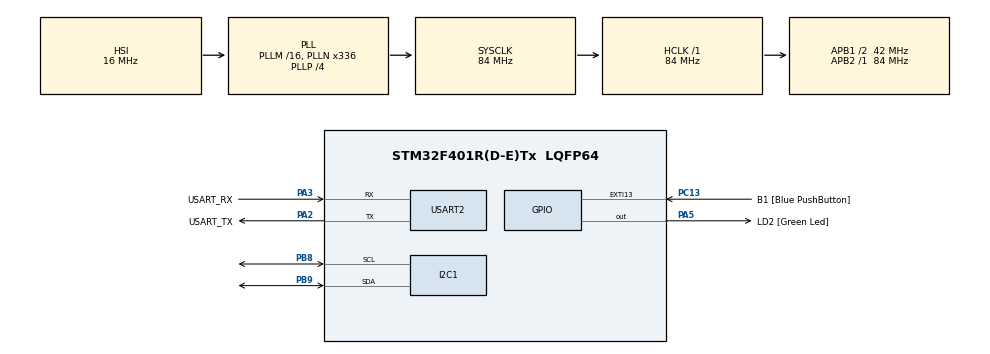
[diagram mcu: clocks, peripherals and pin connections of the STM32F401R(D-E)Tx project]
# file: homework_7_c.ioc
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Dma.I2C1_RX.0.Direction=DMA_PERIPH_TO_MEMORY
Dma.I2C1_RX.0.FIFOMode=DMA_FIFOMODE_DISABLE
Dma.I2C1_RX.0.Instance=DMA1_Stream0
Dma.I2C1_RX.0.MemDataAlignment=DMA_MDATAALIGN_BYTE
Dma.I2C1_RX.0.MemInc=DMA_MINC_ENABLE
Dma.I2C1_RX.0.Mode=DMA_NORMAL
Dma.I2C1_RX.0.PeriphDataAlignment=DMA_PDATAALIGN_BYTE
Dma.I2C1_RX.0.PeriphInc=DMA_PINC_DISABLE
Dma.I2C1_RX.0.Priority=DMA_PRIORITY_LOW
Dma.Request0=I2C1_RX
Dma.Request1=USART2_TX
Dma.USART2_TX.1.Direction=DMA_MEMORY_TO_PERIPH
Dma.USART2_TX.1.FIFOMode=DMA_FIFOMODE_DISABLE
Dma.USART2_TX.1.Instance=DMA1_Stream6
Dma.USART2_TX.1.MemDataAlignment=DMA_MDATAALIGN_BYTE
Dma.USART2_TX.1.MemInc=DMA_MINC_ENABLE
Dma.USART2_TX.1.Mode=DMA_NORMAL
Dma.USART2_TX.1.PeriphDataAlignment=DMA_PDATAALIGN_BYTE
Dma.USART2_TX.1.PeriphInc=DMA_PINC_DISABLE
Dma.USART2_TX.1.Priority=DMA_PRIORITY_LOW
Mcu.Family=STM32F4
Mcu.Name=STM32F401R(D-E)Tx
Mcu.Package=LQFP64
NVIC.DMA1_Stream0_IRQn=true\:0\:0\:false\:false\:true\:false\:true\:true
NVIC.DMA1_Stream6_IRQn=true\:0\:0\:false\:false\:true\:false\:true\:true
NVIC.I2C1_EV_IRQn=true\:0\:0\:false\:false\:true\:true\:true\:true
NVIC.PriorityGroup=NVIC_PRIORITYGROUP_0
NVIC.TIM2_IRQn=true\:0\:0\:false\:false\:true\:true\:true\:true
NVIC.USART2_IRQn=true\:0\:0\:false\:false\:true\:true\:true\:true
PA13.GPIO_Label=TMS
PA13.Mode=Serial_Wire
PA13.Signal=SYS_JTMS-SWDIO
PA14.GPIO_Label=TCK
PA14.Mode=Serial_Wire
PA14.Signal=SYS_JTCK-SWCLK
PA2.GPIO_Label=USART_TX
PA2.GPIO_Mode=GPIO_MODE_AF_PP
PA2.GPIO_PuPd=GPIO_NOPULL
PA2.GPIO_Speed=GPIO_SPEED_FREQ_LOW
PA2.Mode=Asynchronous
PA2.Signal=USART2_TX
PA3.GPIO_Label=USART_RX
PA3.GPIO_Mode=GPIO_MODE_AF_PP
PA3.GPIO_PuPd=GPIO_NOPULL
PA3.GPIO_Speed=GPIO_SPEED_FREQ_LOW
PA3.Mode=Asynchronous
PA3.Signal=USART2_RX
PA5.GPIO_Label=LD2 [Green Led]
PA5.GPIO_Mode=GPIO_MODE_OUTPUT_PP
PA5.GPIO_PuPd=GPIO_NOPULL
PA5.GPIO_Speed=GPIO_SPEED_FREQ_LOW
PA5.Signal=GPIO_Output
PB3.GPIO_Label=SWO
PB3.Signal=SYS_JTDO-SWO
PB8.Mode=I2C
PB8.Signal=I2C1_SCL
PB9.Mode=I2C
PB9.Signal=I2C1_SDA
PC13-ANTI_TAMP.GPIO_Label=B1 [Blue PushButton]
PC13-ANTI_TAMP.GPIO_ModeDefaultEXTI=GPIO_MODE_IT_FALLING
PC13-ANTI_TAMP.GPIO_PuPd=GPIO_NOPULL
PC13-ANTI_TAMP.Signal=GPXTI13
PC14-OSC32_IN.Mode=LSE-External-Oscillator
PC14-OSC32_IN.Signal=RCC_OSC32_IN
PC15-OSC32_OUT.Mode=LSE-External-Oscillator
PC15-OSC32_OUT.Signal=RCC_OSC32_OUT
PH0\ -\ OSC_IN.Mode=HSE-External-Clock-Source
PH0\ -\ OSC_IN.Signal=RCC_OSC_IN
PH1\ -\ OSC_OUT.Mode=HSE-External-Clock-Source
PH1\ -\ OSC_OUT.Signal=RCC_OSC_OUT
ProjectManager.HeapSize=0x200
ProjectManager.StackSize=0x400
ProjectManager.TargetToolchain=STM32CubeIDE
RCC.48MHZClocksFreq_Value=48000000
RCC.AHBFreq_Value=84000000
RCC.APB1CLKDivider=RCC_HCLK_DIV2
RCC.APB1Freq_Value=42000000
RCC.APB1TimFreq_Value=84000000
RCC.APB2Freq_Value=84000000
RCC.APB2TimFreq_Value=84000000
RCC.CortexFreq_Value=84000000
RCC.HCLKFreq_Value=84000000
RCC.HSE_VALUE=8000000
RCC.HSI_VALUE=16000000
RCC.PLLN=336
RCC.PLLP=RCC_PLLP_DIV4
RCC.PLLQ=7
RCC.SYSCLKFreq_VALUE=84000000
RCC.SYSCLKSource=RCC_SYSCLKSOURCE_PLLCLK
RCC.VCOOutputFreq_Value=336000000
TIM2.Period=84000000-1
USART2.VirtualMode=VM_ASYNC
VP_TIM2_VS_ClockSourceINT.Mode=Internal
board=NUCLEO-F401RE

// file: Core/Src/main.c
/* USER CODE BEGIN Header */
/**
  ******************************************************************************
  * @file           : main.c
  * @brief          : Main program body
  ******************************************************************************
  * @attention
  *
  * Copyright (c) 2022 STMicroelectronics.
  * All rights reserved.
  *
  * This software is licensed under terms that can be found in the LICENSE file
  * in the root directory of this software component.
  * If no LICENSE file comes with this software, it is provided AS-IS.
  *
  ******************************************************************************
  */
/* USER CODE END Header */
#include "main.h"

/* USER CODE BEGIN PTD */
// Read and write for LISD2DE and LISD2DE12
#define LIS2DE_ADDRESS_AND_WRITE 0b01010000         //LIS2DE_ADDRESS+0
#define LIS2DE_ADDRESS_AND_READ 0b01010001          //LIS2DE_ADDRESS+1
#define LIS2DE12_ADDRESS_AND_WRITE 0b00110000       //LIS2DE12_ADDRESS+0
#define LIS2DE12_ADDRESS_AND_READ 0b00110001        //LIS2DE12_ADDRESS+1
uint8_t Sensor_Addres_And_Write;
uint8_t Sensor_Addres_And_Read;

// Startp overflow
typedef enum {false, true} bool;
bool STARTUP_OVERFLOW = true;

// Control register address
// Enable XYZ at 1 Hz
uint8_t CTRL_REG1[] = {0x20, 0b00010111};
// No highpass filter, default value at startup
uint8_t CTRL_REG2[] = {0x21, 0b00000000};
// Continuous update with +-2g, default value at startup
uint8_t CTRL_REG4[] = {0x23, 0b00000000};

// Axis address, auto-incremented starting from register OUT_X
uint8_t OUT = 0b10000000 + 0x29;

// Acceleration variables, for 3 axis and 2 reserved spots in between
int8_t acc[5];

// Converted acceleration variables
float acc_g_x;
float acc_g_y;
float acc_g_z;

// String
char string[64];

/* USER CODE END PTD */

I2C_HandleTypeDef hi2c1;
DMA_HandleTypeDef hdma_i2c1_rx;

TIM_HandleTypeDef htim2;

UART_HandleTypeDef huart2;
DMA_HandleTypeDef hdma_usart2_tx;

void SystemClock_Config(void);
static void MX_GPIO_Init(void);
static void MX_DMA_Init(void);
static void MX_USART2_UART_Init(void);
static void MX_I2C1_Init(void);
static void MX_TIM2_Init(void);

/* USER CODE BEGIN 0 */
void HAL_TIM_PeriodElapsedCallback(TIM_HandleTypeDef* calling_timer){
	if(calling_timer==&htim2){
		if(STARTUP_OVERFLOW==true){
	      STARTUP_OVERFLOW=false;
	    }
	    else{
	    	// Gathering all the accelerations
	    	HAL_I2C_Master_Transmit(&hi2c1, Sensor_Addres_And_Write, &OUT, 1, 50);
	    	HAL_I2C_Master_Receive_DMA(&hi2c1, Sensor_Addres_And_Read, acc, 5);
	    }
	}
}

void HAL_I2C_MasterRxCpltCallback(I2C_HandleTypeDef* hi2c){
	// Calculating the acceleration value
	acc_g_x = acc[0] / 64.0;
	acc_g_y = acc[2] / 64.0;
	acc_g_z = acc[4] / 64.0;
	// Displaying the result
	snprintf(string, sizeof(string), "X = %+.2f g\tY = %+.2f g\tZ = %+.2f g\r\n", acc_g_x, acc_g_y, acc_g_z);
	HAL_UART_Transmit_DMA(&huart2, string, strlen(string));
}

/* USER CODE END 0 */

int main(void)
{

  /* MCU Configuration--------------------------------------------------------*/

  /* Reset of all peripherals, Initializes the Flash interface and the Systick. */
  HAL_Init();

  /* Configure the system clock */
  SystemClock_Config();

  /* Initialize all configured peripherals */
  MX_GPIO_Init();
  MX_DMA_Init();
  MX_USART2_UART_Init();
  MX_I2C1_Init();
  MX_TIM2_Init();
  /* USER CODE BEGIN 2 */
  //Checking if accelerometer is LIS2DE or LIS2DE12
  if(HAL_I2C_Master_Transmit(&hi2c1, LIS2DE_ADDRESS_AND_WRITE, 0b00000000, 1, 50)==HAL_OK){
    Sensor_Addres_And_Write=LIS2DE_ADDRESS_AND_WRITE;
    Sensor_Addres_And_Read=LIS2DE_ADDRESS_AND_READ;
  }
  else{
    Sensor_Addres_And_Write=LIS2DE12_ADDRESS_AND_WRITE;
    Sensor_Addres_And_Read=LIS2DE12_ADDRESS_AND_READ;
  }
  // Send information about the different settings for the register addresses
  HAL_I2C_Master_Transmit(&hi2c1, Sensor_Addres_And_Write, CTRL_REG1, sizeof(CTRL_REG1), 50);
  HAL_I2C_Master_Transmit(&hi2c1, Sensor_Addres_And_Write, CTRL_REG2, sizeof(CTRL_REG2), 50);
  HAL_I2C_Master_Transmit(&hi2c1, Sensor_Addres_And_Write, CTRL_REG4, sizeof(CTRL_REG4), 50);
  // Start the timer interrupt
  HAL_TIM_Base_Start_IT(&htim2);
  /* USER CODE END 2 */

  /* Infinite loop */
  while (1)
  {

  }
}

void SystemClock_Config(void)
{
  RCC_OscInitTypeDef RCC_OscInitStruct = {0};
  RCC_ClkInitTypeDef RCC_ClkInitStruct = {0};

  /** Configure the main internal regulator output voltage
  */
  __HAL_RCC_PWR_CLK_ENABLE();
  __HAL_PWR_VOLTAGESCALING_CONFIG(PWR_REGULATOR_VOLTAGE_SCALE2);

  /** Initializes the RCC Oscillators according to the specified parameters
  * in the RCC_OscInitTypeDef structure.
  */
  RCC_OscInitStruct.OscillatorType = RCC_OSCILLATORTYPE_HSI;
  RCC_OscInitStruct.HSIState = RCC_HSI_ON;
  RCC_OscInitStruct.HSICalibrationValue = RCC_HSICALIBRATION_DEFAULT;
  RCC_OscInitStruct.PLL.PLLState = RCC_PLL_ON;
  RCC_OscInitStruct.PLL.PLLSource = RCC_PLLSOURCE_HSI;
  RCC_OscInitStruct.PLL.PLLM = 16;
  RCC_OscInitStruct.PLL.PLLN = 336;
  RCC_OscInitStruct.PLL.PLLP = RCC_PLLP_DIV4;
  RCC_OscInitStruct.PLL.PLLQ = 7;
  if (HAL_RCC_OscConfig(&RCC_OscInitStruct) != HAL_OK)
  {
    Error_Handler();
  }

  /** Initializes the CPU, AHB and APB buses clocks
  */
  RCC_ClkInitStruct.ClockType = RCC_CLOCKTYPE_HCLK|RCC_CLOCKTYPE_SYSCLK
                              |RCC_CLOCKTYPE_PCLK1|RCC_CLOCKTYPE_PCLK2;
  RCC_ClkInitStruct.SYSCLKSource = RCC_SYSCLKSOURCE_PLLCLK;
  RCC_ClkInitStruct.AHBCLKDivider = RCC_SYSCLK_DIV1;
  RCC_ClkInitStruct.APB1CLKDivider = RCC_HCLK_DIV2;
  RCC_ClkInitStruct.APB2CLKDivider = RCC_HCLK_DIV1;

  if (HAL_RCC_ClockConfig(&RCC_ClkInitStruct, FLASH_LATENCY_2) != HAL_OK)
  {
    Error_Handler();
  }
}

static void MX_I2C1_Init(void)
{

  hi2c1.Instance = I2C1;
  hi2c1.Init.ClockSpeed = 100000;
  hi2c1.Init.DutyCycle = I2C_DUTYCYCLE_2;
  hi2c1.Init.OwnAddress1 = 0;
  hi2c1.Init.AddressingMode = I2C_ADDRESSINGMODE_7BIT;
  hi2c1.Init.DualAddressMode = I2C_DUALADDRESS_DISABLE;
  hi2c1.Init.OwnAddress2 = 0;
  hi2c1.Init.GeneralCallMode = I2C_GENERALCALL_DISABLE;
  hi2c1.Init.NoStretchMode = I2C_NOSTRETCH_DISABLE;
  if (HAL_I2C_Init(&hi2c1) != HAL_OK)
  {
    Error_Handler();
  }

}

static void MX_TIM2_Init(void)
{

  TIM_ClockConfigTypeDef sClockSourceConfig = {0};
  TIM_MasterConfigTypeDef sMasterConfig = {0};

  htim2.Instance = TIM2;
  htim2.Init.Prescaler = 0;
  htim2.Init.CounterMode = TIM_COUNTERMODE_UP;
  htim2.Init.Period = 84000000-1;
  htim2.Init.ClockDivision = TIM_CLOCKDIVISION_DIV1;
  htim2.Init.AutoReloadPreload = TIM_AUTORELOAD_PRELOAD_DISABLE;
  if (HAL_TIM_Base_Init(&htim2) != HAL_OK)
  {
    Error_Handler();
  }
  sClockSourceConfig.ClockSource = TIM_CLOCKSOURCE_INTERNAL;
  if (HAL_TIM_ConfigClockSource(&htim2, &sClockSourceConfig) != HAL_OK)
  {
    Error_Handler();
  }
  sMasterConfig.MasterOutputTrigger = TIM_TRGO_RESET;
  sMasterConfig.MasterSlaveMode = TIM_MASTERSLAVEMODE_DISABLE;
  if (HAL_TIMEx_MasterConfigSynchronization(&htim2, &sMasterConfig) != HAL_OK)
  {
    Error_Handler();
  }

}

static void MX_USART2_UART_Init(void)
{

  huart2.Instance = USART2;
  huart2.Init.BaudRate = 115200;
  huart2.Init.WordLength = UART_WORDLENGTH_8B;
  huart2.Init.StopBits = UART_STOPBITS_1;
  huart2.Init.Parity = UART_PARITY_NONE;
  huart2.Init.Mode = UART_MODE_TX_RX;
  huart2.Init.HwFlowCtl = UART_HWCONTROL_NONE;
  huart2.Init.OverSampling = UART_OVERSAMPLING_16;
  if (HAL_UART_Init(&huart2) != HAL_OK)
  {
    Error_Handler();
  }

}

static void MX_DMA_Init(void)
{

  /* DMA controller clock enable */
  __HAL_RCC_DMA1_CLK_ENABLE();

  /* DMA interrupt init */
  /* DMA1_Stream0_IRQn interrupt configuration */
  HAL_NVIC_SetPriority(DMA1_Stream0_IRQn, 0, 0);
  HAL_NVIC_EnableIRQ(DMA1_Stream0_IRQn);
  /* DMA1_Stream6_IRQn interrupt configuration */
  HAL_NVIC_SetPriority(DMA1_Stream6_IRQn, 0, 0);
  HAL_NVIC_EnableIRQ(DMA1_Stream6_IRQn);

}

static void MX_GPIO_Init(void)
{
  GPIO_InitTypeDef GPIO_InitStruct = {0};

  /* GPIO Ports Clock Enable */
  __HAL_RCC_GPIOC_CLK_ENABLE();
  __HAL_RCC_GPIOH_CLK_ENABLE();
  __HAL_RCC_GPIOA_CLK_ENABLE();
  __HAL_RCC_GPIOB_CLK_ENABLE();

  /*Configure GPIO pin Output Level */
  HAL_GPIO_WritePin(LD2_GPIO_Port, LD2_Pin, GPIO_PIN_RESET);

  /*Configure GPIO pin : B1_Pin */
  GPIO_InitStruct.Pin = B1_Pin;
  GPIO_InitStruct.Mode = GPIO_MODE_IT_FALLING;
  GPIO_InitStruct.Pull = GPIO_NOPULL;
  HAL_GPIO_Init(B1_GPIO_Port, &GPIO_InitStruct);

  /*Configure GPIO pin : LD2_Pin */
  GPIO_InitStruct.Pin = LD2_Pin;
  GPIO_InitStruct.Mode = GPIO_MODE_OUTPUT_PP;
  GPIO_InitStruct.Pull = GPIO_NOPULL;
  GPIO_InitStruct.Speed = GPIO_SPEED_FREQ_LOW;
  HAL_GPIO_Init(LD2_GPIO_Port, &GPIO_InitStruct);

}

void Error_Handler(void)
{
  __disable_irq();
  while (1)
  {
  }
}
